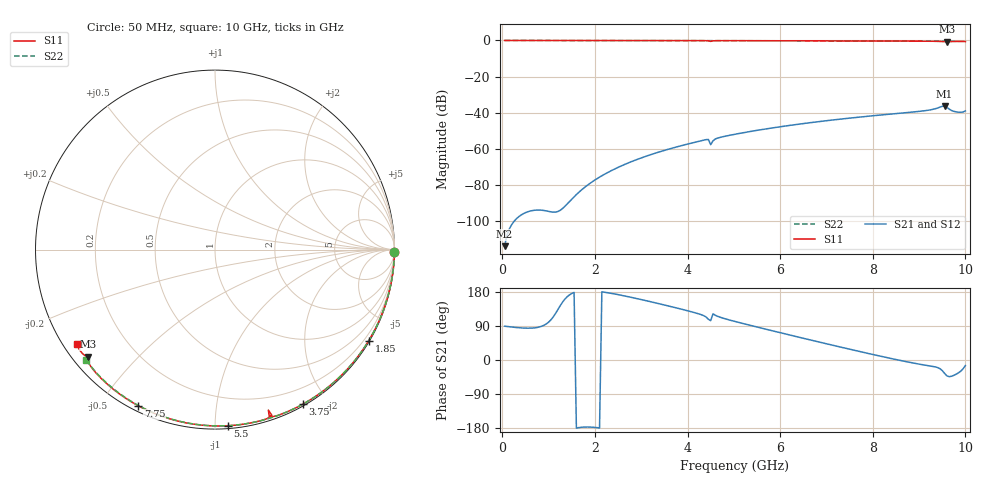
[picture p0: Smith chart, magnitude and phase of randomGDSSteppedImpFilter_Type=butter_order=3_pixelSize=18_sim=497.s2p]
! freq	dB(S11)	phase(S11)	dB(S12)	phase(S12)
!  dB(S21)	phase(S21)	dB(S22)	phase(S22)
!S-par simulation data
#  GHz  S  DB  R 50
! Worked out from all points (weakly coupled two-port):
!   200 points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, 50 MHz to 10 GHz, reference 50 ohm
!   highest |S21| = -36.44 dB at 9.55 GHz (marker M1); lowest = -114.0 dB at 50 MHz (marker M2)
!   lowest |S11| = -0.7 dB at 9.6 GHz (marker M3), VSWR 25.15, Z = 2.25 - j18.3 ohm
!   |S11| at or under -10 dB: nowhere
!   |S22| runs from -0.5 to 0.0 dB; largest |S21 - S12| = 0
!   S11 on the Smith chart (normalised r, x): 50 MHz: open; 1.85 GHz: 0.03, -3.65; 3.75 GHz: 0.02, -1.72; 5.5 GHz: 0.02, -1.08; 7.75 GHz: 0.02, -0.62; 10 GHz: 0.04, -0.31
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0.05  -0.00 -0.8  -114.01 89.2  -114.01 89.2  -0.00 -0.8
0.9  -0.02 -15.0  -94.24 91.7  -94.24 91.7  -0.02 -14.5
1.75  -0.04 -29.0  -82.00 -177.0  -82.00 -177.0  -0.04 -27.9
1.85  -0.04 -30.6  -80.01 -176.8  -80.01 -176.8  -0.04 -29.4
2.15  -0.05 -35.5  -74.99 179.9  -74.99 179.9  -0.04 -34.1
2.5  -0.05 -41.0  -70.34 172.6  -70.34 172.6  -0.05 -39.5
3.4  -0.07 -55.1  -61.69 148.1  -61.69 148.1  -0.07 -53.0
3.75  -0.08 -60.5  -59.11 137.7  -59.11 137.7  -0.08 -58.1
4.4  -0.13 -70.8  -54.96 113.6  -54.96 113.6  -0.10 -67.5
4.45  -0.20 -72.0  -54.88 107.4  -54.88 107.4  -0.10 -68.2
4.5  -0.51 -71.6  -57.74 103.8  -57.74 103.8  -0.10 -68.9
4.6  -0.14 -72.3  -54.59 118.1  -54.59 118.1  -0.10 -70.3
5.05  -0.12 -79.3  -51.85 100.9  -51.85 100.9  -0.12 -76.6
5.5  -0.14 -85.8  -49.82 87.0  -49.82 87.0  -0.13 -82.7
6.7  -0.20 -102.2  -45.40 51.5  -45.40 51.5  -0.19 -98.6
7.75  -0.27 -116.1  -42.37 21.5  -42.37 21.5  -0.26 -111.9
8.35  -0.32 -124.0  -40.89 5.1  -40.89 5.1  -0.31 -119.3
9.15  -0.41 -134.6  -38.85 -14.0  -38.85 -14.0  -0.38 -129.1
9.55  -0.69 -139.8  -36.44 -35.2  -36.44 -35.2  -0.42 -134.0
9.6  -0.69 -139.8  -37.08 -41.8  -37.08 -41.8  -0.43 -134.6
9.8  -0.55 -142.3  -39.57 -37.5  -39.57 -37.5  -0.46 -137.0
10  -0.61 -145.7  -39.03 -14.8  -39.03 -14.8  -0.50 -139.4
